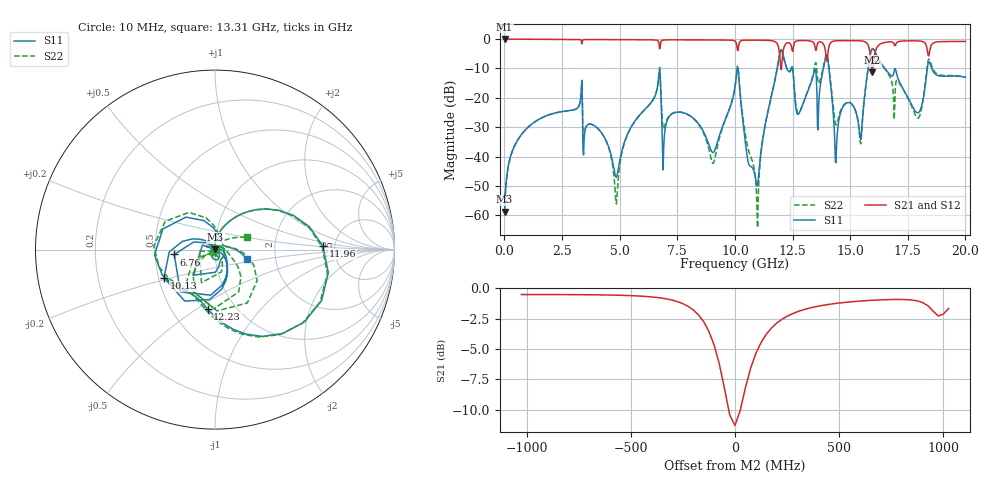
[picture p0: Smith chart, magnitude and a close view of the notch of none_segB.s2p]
! Stitch-density study - 40 x 12 mm symmetric stripline, cut at x=20 mm
! Case: none_segB
! Sweep: 10 MHz - 20 GHz, 25 MHz step, 4 cores
# GHz S MA R 50.000000
! Terminal data exported
! Port[1] = U1.PAD1.SIG
! Port[2] = U2.PAD1.SIG
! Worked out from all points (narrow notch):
!   801 points, 10 MHz to 20 GHz, reference 50 ohm
!   highest |S21| = -0.01 dB at 10 MHz (marker M1); lowest = -11.3 dB at 15.96 GHz (marker M2)
!   notch at M2: 10.9 dB deep, 172 MHz wide at half that depth
!   lowest |S11| = -58.8 dB at 10 MHz (marker M3), VSWR 1.00, Z = 50.1 + j0.0733 ohm
!   |S11| at or under -10 dB: start of sweep to 10.1 GHz; 14.08 GHz to 15.78 GHz (1.7 GHz wide, 11.4 % of centre); 16.5 GHz to 18.35 GHz (1.845 GHz wide, 10.6 % of centre)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
!   |S22| runs from -64.2 to -3.3 dB; largest |S21 - S12| = 0
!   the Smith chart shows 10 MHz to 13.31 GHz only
!   S11 on the Smith chart (normalised r, x): 10 MHz: 1.00, +0.00; 6.76 GHz: 0.63, -0.04; 10.13 GHz: 0.53, -0.19; 11.96 GHz: 3.99, +0.25; 12.23 GHz: 0.75, -0.56; 13.31 GHz: 1.42, -0.16
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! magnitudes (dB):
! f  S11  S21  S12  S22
! 10 MHz  -58.8  0.0  0.0  -58.8
! 885 MHz  -31.1  -0.1  -0.1  -31.2
! 3.36 GHz  -14.5  -1.7  -1.7  -14.0
! 4.86 GHz  -47.0  -0.2  -0.2  -56.1
! 6.685 GHz  -13.9  -0.9  -0.9  -13.5
! 6.76 GHz  -12.8  -2.5  -2.5  -11.8
! 6.935 GHz  -33.7  -0.3  -0.3  -30.2
! 9.06 GHz  -38.6  -0.3  -0.3  -42.3
! 10.01 GHz  -16.1  -0.7  -0.7  -15.9
! 10.13 GHz  -9.8  -3.9  -3.9  -9.3
! 10.96 GHz  -50.0  -0.4  -0.4  -57.9
! 11.96 GHz  -4.4  -6.8  -6.8  -4.5
! 12.23 GHz  -9.5  -1.5  -1.5  -9.6
! 12.76 GHz  -25.6  -0.5  -0.5  -25.2
! 13.31 GHz  -14.7  -0.7  -0.7  -14.4
! 13.36 GHz  -13.5  -0.9  -0.9  -13.1
! 15.44 GHz  -33.5  -0.6  -0.6  -35.0
! 15.96 GHz  -3.3  -11.3  -11.3  -3.3
! 16.68 GHz  -11.7  -0.9  -0.9  -12.3
! 17.93 GHz  -25.1  -0.6  -0.6  -26.9
! 18.43 GHz  -7.8  -4.8  -4.8  -6.9
! 20 GHz  -13.0  -0.8  -0.8  -13.0
